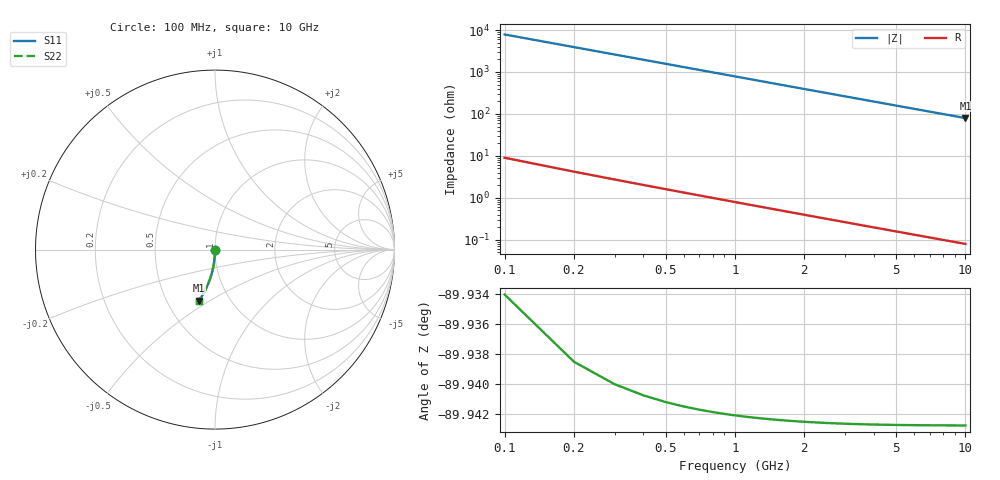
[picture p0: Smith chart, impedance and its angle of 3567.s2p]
# Hz S RI R 50.00
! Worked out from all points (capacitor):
!   100 points, 100 MHz to 10 GHz, reference 50 ohm
!   read as one part in shunt: C = 203 fF near 100 MHz
!   lowest |Z| = 79.6 ohm at 10 GHz (marker M1)
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1e8  -1.27e-05 -0.00319  1 -0.0032  1 -0.0032  -1.27e-05 -0.00319
2e8  -4.64e-05 -0.00637  1 -0.00639  1 -0.00639  -4.64e-05 -0.00637
3e8  -0.000101 -0.00955  0.9999 -0.00959  0.9999 -0.00959  -0.000101 -0.00955
4e8  -0.000175 -0.0127  0.9998 -0.0128  0.9998 -0.0128  -0.000175 -0.0127
5e8  -0.00027 -0.0159  0.9997 -0.016  0.9997 -0.016  -0.00027 -0.0159
6e8  -0.000385 -0.0191  0.9996 -0.0192  0.9996 -0.0192  -0.000385 -0.0191
7e8  -0.00052 -0.0223  0.9995 -0.0224  0.9995 -0.0224  -0.00052 -0.0223
8e8  -0.000675 -0.0254  0.9993 -0.0255  0.9993 -0.0255  -0.000675 -0.0254
9e8  -0.000851 -0.0286  0.9991 -0.0287  0.9991 -0.0287  -0.000851 -0.0286
1.1e9  -0.00126 -0.035  0.9987 -0.0351  0.9987 -0.0351  -0.00126 -0.035
1.4e9  -0.00203 -0.0444  0.998 -0.0446  0.998 -0.0446  -0.00203 -0.0444
1.8e9  -0.00333 -0.057  0.9967 -0.0572  0.9967 -0.0572  -0.00333 -0.057
2.1e9  -0.00451 -0.0664  0.9955 -0.0666  0.9955 -0.0666  -0.00451 -0.0664
2.5e9  -0.00635 -0.0788  0.9936 -0.0791  0.9936 -0.0791  -0.00635 -0.0788
2.9e9  -0.0085 -0.0911  0.9915 -0.0915  0.9915 -0.0915  -0.0085 -0.0911
3.4e9  -0.0116 -0.1064  0.9884 -0.1068  0.9884 -0.1068  -0.0116 -0.1064
4.2e9  -0.0175 -0.1304  0.9825 -0.1309  0.9825 -0.1309  -0.0175 -0.1304
5.1e9  -0.0255 -0.1568  0.9745 -0.1574  0.9745 -0.1574  -0.0255 -0.1568
5.9e9  -0.0337 -0.1796  0.9663 -0.1803  0.9663 -0.1803  -0.0337 -0.1796
6.7e9  -0.0429 -0.2017  0.9571 -0.2025  0.9571 -0.2025  -0.0429 -0.2017
8.4e9  -0.0655 -0.2464  0.9345 -0.2474  0.9345 -0.2474  -0.0655 -0.2464
1e10  -0.09 -0.2851  0.91 -0.2863  0.91 -0.2863  -0.09 -0.2851
